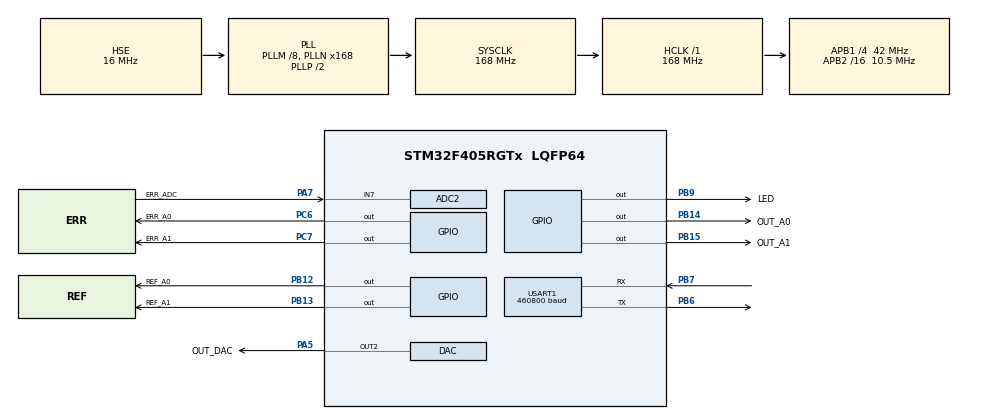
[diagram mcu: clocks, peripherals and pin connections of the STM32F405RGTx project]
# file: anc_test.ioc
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ADC2.Channel-0\#ChannelRegularConversion=ADC_CHANNEL_7
ADC2.ClockPrescaler=ADC_CLOCK_SYNC_PCLK_DIV4
ADC2.ExternalTrigConv=ADC_EXTERNALTRIGCONV_T2_TRGO
ADC2.NbrOfConversionFlag=1
ADC2.Rank-0\#ChannelRegularConversion=1
ADC2.SamplingTime-0\#ChannelRegularConversion=ADC_SAMPLETIME_3CYCLES
DAC.DAC_Trigger2=DAC_TRIGGER_SOFTWARE
Dma.Request0=USART1_TX
Dma.USART1_TX.0.Direction=DMA_MEMORY_TO_PERIPH
Dma.USART1_TX.0.FIFOMode=DMA_FIFOMODE_DISABLE
Dma.USART1_TX.0.Instance=DMA2_Stream7
Dma.USART1_TX.0.MemDataAlignment=DMA_MDATAALIGN_BYTE
Dma.USART1_TX.0.MemInc=DMA_MINC_ENABLE
Dma.USART1_TX.0.Mode=DMA_NORMAL
Dma.USART1_TX.0.PeriphDataAlignment=DMA_PDATAALIGN_BYTE
Dma.USART1_TX.0.PeriphInc=DMA_PINC_DISABLE
Dma.USART1_TX.0.Priority=DMA_PRIORITY_HIGH
Mcu.Family=STM32F4
Mcu.Name=STM32F405RGTx
Mcu.Package=LQFP64
NVIC.ADC_IRQn=true\:0\:0\:false\:false\:true\:true\:true
NVIC.DMA2_Stream7_IRQn=true\:0\:0\:false\:false\:true\:false\:true
NVIC.PriorityGroup=NVIC_PRIORITYGROUP_4
NVIC.TIM2_IRQn=true\:0\:0\:false\:false\:true\:true\:true
NVIC.USART1_IRQn=true\:0\:0\:false\:false\:true\:true\:true
PA13.Mode=Trace_Asynchronous_SW
PA13.Signal=SYS_JTMS-SWDIO
PA14.Mode=Trace_Asynchronous_SW
PA14.Signal=SYS_JTCK-SWCLK
PA5.GPIO_Label=OUT_DAC
PA5.Signal=COMP_DAC2_group
PA7.GPIO_Label=ERR_ADC
PA7.Signal=ADCx_IN7
PB12.GPIO_Label=REF_A0
PB12.Signal=GPIO_Output
PB13.GPIO_Label=REF_A1
PB13.Signal=GPIO_Output
PB14.GPIO_Label=OUT_A0
PB14.Signal=GPIO_Output
PB15.GPIO_Label=OUT_A1
PB15.Signal=GPIO_Output
PB3.Mode=Trace_Asynchronous_SW
PB3.Signal=SYS_JTDO-SWO
PB6.Mode=Asynchronous
PB6.Signal=USART1_TX
PB7.Mode=Asynchronous
PB7.Signal=USART1_RX
PB9.GPIO_Label=LED
PB9.GPIO_ModeDefaultOutputPP=GPIO_MODE_OUTPUT_OD
PB9.GPIO_PuPd=GPIO_PULLUP
PB9.Signal=GPIO_Output
PC6.GPIO_Label=ERR_A0
PC6.Signal=GPIO_Output
PC7.GPIO_Label=ERR_A1
PC7.Signal=GPIO_Output
PH0-OSC_IN.Mode=HSE-External-Oscillator
PH0-OSC_IN.Signal=RCC_OSC_IN
PH1-OSC_OUT.Mode=HSE-External-Oscillator
PH1-OSC_OUT.Signal=RCC_OSC_OUT
ProjectManager.HeapSize=0x200
ProjectManager.StackSize=0x400
ProjectManager.TargetToolchain=STM32CubeIDE
RCC.48MHZClocksFreq_Value=84000000
RCC.AHBFreq_Value=168000000
RCC.APB1CLKDivider=RCC_HCLK_DIV4
RCC.APB1Freq_Value=42000000
RCC.APB1TimFreq_Value=84000000
RCC.APB2CLKDivider=RCC_HCLK_DIV16
RCC.APB2Freq_Value=10500000
RCC.APB2TimFreq_Value=21000000
RCC.CortexFreq_Value=168000000
RCC.HCLKFreq_Value=168000000
RCC.HSE_VALUE=16000000
RCC.HSI_VALUE=16000000
RCC.LSE_VALUE=32768
RCC.PLLM=8
RCC.PLLN=168
RCC.PLLSourceVirtual=RCC_PLLSOURCE_HSE
RCC.SYSCLKFreq_VALUE=168000000
RCC.SYSCLKSource=RCC_SYSCLKSOURCE_PLLCLK
RCC.VCOOutputFreq_Value=336000000
SH.ADCx_IN7.0=ADC2_IN7,IN7
SH.COMP_DAC2_group.0=DAC_OUT2,DAC_OUT2
TIM2.Period=9
TIM2.Prescaler=1049
TIM2.TIM_MasterOutputTrigger=TIM_TRGO_UPDATE
USART1.BaudRate=460800
USART1.VirtualMode=VM_ASYNC
VP_TIM2_VS_ClockSourceINT.Mode=Internal
board=custom

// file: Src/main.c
/* USER CODE BEGIN Header */
/**
  ******************************************************************************
  * @file           : main.c
  * @brief          : Main program body
  ******************************************************************************
  * @attention
  *
  * <h2><center>&copy; Copyright (c) 2019 STMicroelectronics.
  * All rights reserved.</center></h2>
  *
  * This software component is licensed by ST under BSD 3-Clause license,
  * the "License"; You may not use this file except in compliance with the
  * License. You may obtain a copy of the License at:
  *                        opensource.org/licenses/BSD-3-Clause
  *
  ******************************************************************************
  */
/* USER CODE END Header */

#include "main.h"

/* USER CODE BEGIN Includes */
#include <stdio.h>
#include <string.h>
/* USER CODE END Includes */

UART_HandleTypeDef huart1;
DMA_HandleTypeDef hdma_usart1_tx;

void SystemClock_Config(void);
static void MX_GPIO_Init(void);
static void MX_DMA_Init(void);
static void MX_USART1_UART_Init(void);
static void MX_TIM2_Init(void);
static void MX_ADC2_Init(void);
static void MX_DAC_Init(void);

/* USER CODE BEGIN 0 */

volatile char uartbuf[40];

volatile uint8_t start = 0;

volatile int16_t sendbuf[3];
/*
void HAL_TIM_PeriodElapsedCallback(TIM_HandleTypeDef *htim)
{
	const int16_t sinus[40] = {
			  	  0,
			    160,
			    316,
			    465,
			    602,
			    724,
			    828,
			    912,
			    974,
			   1011,
			   1024,
			   1011,
			    974,
			    912,
			    828,
			    724,
			    602,
			    465,
			    316,
			    160,
			      0,
			   -160,
			   -316,
			   -465,
			   -602,
			   -724,
			   -828,
			   -912,
			   -974,
			  -1011,
			  -1024,
			  -1011,
			   -974,
			   -912,
			   -828,
			   -724,
			   -602,
			   -465,
			   -316,
			   -160
	};
	static uint32_t i = 0;

	if (start)
	{

		//sprintf(uartbuf, "%d\n", i);
		sendbuf[0] = sinus[ i % 40 ];
		sendbuf[1] = sinus[ (i + 10) % 40 ];
		sendbuf[2] = sinus[ (i + 20) % 40 ];

		//sprintf(uartbuf, "%d\t%d\t%d\n", sendbuf[0], sendbuf[1], sendbuf[2]);

		//HAL_StatusTypeDef error = HAL_UART_Transmit_IT(&huart1, (uint8_t*)uartbuf, strlen(uartbuf));
		if (HAL_UART_Transmit_DMA(&huart1, (uint8_t*)sendbuf, 6) != HAL_OK)
		{
			HAL_GPIO_WritePin(LED_GPIO_Port, LED_Pin, GPIO_PIN_SET);
		}
		//sendbuf[0] = 1;
	}
	i++;
	/*
	if ((i % 8000) == 0)
	{
		HAL_GPIO_TogglePin(LED_GPIO_Port, LED_Pin);
	}
	*/
/*
}
*/
/* USER CODE END 0 */

int main(void)
{

  /* MCU Configuration--------------------------------------------------------*/

  /* Reset of all peripherals, Initializes the Flash interface and the Systick. */
  HAL_Init();

  /* Configure the system clock */
  SystemClock_Config();

  /* Initialize all configured peripherals */
  MX_GPIO_Init();
  MX_DMA_Init();
  MX_USART1_UART_Init();
  MX_TIM2_Init();
  MX_ADC2_Init();
  MX_DAC_Init();
  /* USER CODE BEGIN 2 */

  char uartbuf[20];
  int i = 0;
  HAL_GPIO_WritePin(LED_GPIO_Port, LED_Pin, GPIO_PIN_SET);

  //LL_GPIO_SetOutputPin(ERR_A0_GPIO_Port, ERR_A0_Pin);
  //LL_GPIO_ResetOutputPin(ERR_A1_GPIO_Port, ERR_A1_Pin);
  HAL_GPIO_WritePin(ERR_A0_GPIO_Port, ERR_A0_Pin, GPIO_PIN_SET);
  HAL_GPIO_WritePin(ERR_A1_GPIO_Port, ERR_A1_Pin, GPIO_PIN_SET);

  //while(1);

  LL_ADC_Enable(ADC2);
  LL_ADC_EnableIT_EOCS(ADC2);
  LL_DAC_Enable(DAC, LL_DAC_CHANNEL_2);
  //LL_DAC_EnableTrigger(DAC, LL_DAC_CHANNEL_1);
  LL_TIM_EnableCounter(TIM2);

  //HAL_TIM_Base_Start_IT(&htim2);

  /* USER CODE END 2 */

  /* Infinite loop */
  /* USER CODE BEGIN WHILE */
  while (1)
  {
	  //sprintf(uartbuf, "%d\n", i);
	  //HAL_UART_Transmit(&huart1, (uint8_t*)uartbuf, strlen(uartbuf), 1000);
	  if (start == 0)
	  {
		  if (HAL_UART_Receive(&huart1, (uint8_t*)uartbuf, 2, 1000) == HAL_OK)
		  {
			  if (uartbuf[0] == '1')
			  {
				  HAL_GPIO_WritePin(LED_GPIO_Port, LED_Pin, GPIO_PIN_RESET);
				  start = 1;
			  }
			  if (uartbuf[0] == '0')
			  {
				  HAL_GPIO_WritePin(LED_GPIO_Port, LED_Pin, GPIO_PIN_SET);
				  start = 0;
			  }
		  }
	  }
	  //HAL_UART_Transmit_DMA(&huart1, (uint8_t*)uartbuf, strlen(uartbuf));
	  i++;
    /* USER CODE END WHILE */

  }
}

void SystemClock_Config(void)
{
  RCC_OscInitTypeDef RCC_OscInitStruct = {0};
  RCC_ClkInitTypeDef RCC_ClkInitStruct = {0};

  /** Configure the main internal regulator output voltage
  */
  __HAL_RCC_PWR_CLK_ENABLE();
  __HAL_PWR_VOLTAGESCALING_CONFIG(PWR_REGULATOR_VOLTAGE_SCALE1);
  /** Initializes the CPU, AHB and APB busses clocks
  */
  RCC_OscInitStruct.OscillatorType = RCC_OSCILLATORTYPE_HSE;
  RCC_OscInitStruct.HSEState = RCC_HSE_ON;
  RCC_OscInitStruct.PLL.PLLState = RCC_PLL_ON;
  RCC_OscInitStruct.PLL.PLLSource = RCC_PLLSOURCE_HSE;
  RCC_OscInitStruct.PLL.PLLM = 8;
  RCC_OscInitStruct.PLL.PLLN = 168;
  RCC_OscInitStruct.PLL.PLLP = RCC_PLLP_DIV2;
  RCC_OscInitStruct.PLL.PLLQ = 4;
  if (HAL_RCC_OscConfig(&RCC_OscInitStruct) != HAL_OK)
  {
    Error_Handler();
  }
  /** Initializes the CPU, AHB and APB busses clocks
  */
  RCC_ClkInitStruct.ClockType = RCC_CLOCKTYPE_HCLK|RCC_CLOCKTYPE_SYSCLK
                              |RCC_CLOCKTYPE_PCLK1|RCC_CLOCKTYPE_PCLK2;
  RCC_ClkInitStruct.SYSCLKSource = RCC_SYSCLKSOURCE_PLLCLK;
  RCC_ClkInitStruct.AHBCLKDivider = RCC_SYSCLK_DIV1;
  RCC_ClkInitStruct.APB1CLKDivider = RCC_HCLK_DIV4;
  RCC_ClkInitStruct.APB2CLKDivider = RCC_HCLK_DIV16;

  if (HAL_RCC_ClockConfig(&RCC_ClkInitStruct, FLASH_LATENCY_5) != HAL_OK)
  {
    Error_Handler();
  }
}

static void MX_ADC2_Init(void)
{

  LL_ADC_InitTypeDef ADC_InitStruct = {0};
  LL_ADC_REG_InitTypeDef ADC_REG_InitStruct = {0};
  LL_ADC_CommonInitTypeDef ADC_CommonInitStruct = {0};

  LL_GPIO_InitTypeDef GPIO_InitStruct = {0};

  /* Peripheral clock enable */
  LL_APB2_GRP1_EnableClock(LL_APB2_GRP1_PERIPH_ADC2);

  LL_AHB1_GRP1_EnableClock(LL_AHB1_GRP1_PERIPH_GPIOA);
  /**ADC2 GPIO Configuration
  PA7   ------> ADC2_IN7
  */
  GPIO_InitStruct.Pin = LL_GPIO_PIN_7;
  GPIO_InitStruct.Mode = LL_GPIO_MODE_ANALOG;
  GPIO_InitStruct.Pull = LL_GPIO_PULL_NO;
  LL_GPIO_Init(GPIOA, &GPIO_InitStruct);

  /* ADC2 interrupt Init */
  NVIC_SetPriority(ADC_IRQn, NVIC_EncodePriority(NVIC_GetPriorityGrouping(),0, 0));
  NVIC_EnableIRQ(ADC_IRQn);

  /** Common config
  */
  ADC_InitStruct.Resolution = LL_ADC_RESOLUTION_12B;
  ADC_InitStruct.DataAlignment = LL_ADC_DATA_ALIGN_RIGHT;
  ADC_InitStruct.SequencersScanMode = LL_ADC_SEQ_SCAN_DISABLE;
  LL_ADC_Init(ADC2, &ADC_InitStruct);
  ADC_REG_InitStruct.TriggerSource = LL_ADC_REG_TRIG_EXT_TIM2_TRGO;
  ADC_REG_InitStruct.SequencerLength = LL_ADC_REG_SEQ_SCAN_DISABLE;
  ADC_REG_InitStruct.SequencerDiscont = LL_ADC_REG_SEQ_DISCONT_DISABLE;
  ADC_REG_InitStruct.ContinuousMode = LL_ADC_REG_CONV_SINGLE;
  ADC_REG_InitStruct.DMATransfer = LL_ADC_REG_DMA_TRANSFER_LIMITED;
  LL_ADC_REG_Init(ADC2, &ADC_REG_InitStruct);
  LL_ADC_REG_SetFlagEndOfConversion(ADC2, LL_ADC_REG_FLAG_EOC_UNITARY_CONV);
  LL_ADC_DisableIT_EOCS(ADC2);
  ADC_CommonInitStruct.CommonClock = LL_ADC_CLOCK_SYNC_PCLK_DIV4;
  LL_ADC_CommonInit(__LL_ADC_COMMON_INSTANCE(ADC2), &ADC_CommonInitStruct);
  LL_ADC_REG_StartConversionExtTrig(ADC2, LL_ADC_REG_TRIG_EXT_RISING);
  /** Configure Regular Channel
  */
  LL_ADC_REG_SetSequencerRanks(ADC2, LL_ADC_REG_RANK_1, LL_ADC_CHANNEL_7);
  LL_ADC_SetChannelSamplingTime(ADC2, LL_ADC_CHANNEL_7, LL_ADC_SAMPLINGTIME_3CYCLES);

}

static void MX_DAC_Init(void)
{

  LL_DAC_InitTypeDef DAC_InitStruct = {0};

  LL_GPIO_InitTypeDef GPIO_InitStruct = {0};

  /* Peripheral clock enable */
  LL_APB1_GRP1_EnableClock(LL_APB1_GRP1_PERIPH_DAC1);

  LL_AHB1_GRP1_EnableClock(LL_AHB1_GRP1_PERIPH_GPIOA);
  /**DAC GPIO Configuration
  PA5   ------> DAC_OUT2
  */
  GPIO_InitStruct.Pin = LL_GPIO_PIN_5;
  GPIO_InitStruct.Mode = LL_GPIO_MODE_ANALOG;
  GPIO_InitStruct.Pull = LL_GPIO_PULL_NO;
  LL_GPIO_Init(GPIOA, &GPIO_InitStruct);

  /** DAC channel OUT2 config
  */
  DAC_InitStruct.TriggerSource = LL_DAC_TRIG_SOFTWARE;
  DAC_InitStruct.WaveAutoGeneration = LL_DAC_WAVE_AUTO_GENERATION_NONE;
  DAC_InitStruct.OutputBuffer = LL_DAC_OUTPUT_BUFFER_ENABLE;
  LL_DAC_Init(DAC, LL_DAC_CHANNEL_2, &DAC_InitStruct);

}

static void MX_TIM2_Init(void)
{

  LL_TIM_InitTypeDef TIM_InitStruct = {0};

  /* Peripheral clock enable */
  LL_APB1_GRP1_EnableClock(LL_APB1_GRP1_PERIPH_TIM2);

  /* TIM2 interrupt Init */
  NVIC_SetPriority(TIM2_IRQn, NVIC_EncodePriority(NVIC_GetPriorityGrouping(),0, 0));
  NVIC_EnableIRQ(TIM2_IRQn);

  TIM_InitStruct.Prescaler = 1049;
  TIM_InitStruct.CounterMode = LL_TIM_COUNTERMODE_UP;
  TIM_InitStruct.Autoreload = 9;
  TIM_InitStruct.ClockDivision = LL_TIM_CLOCKDIVISION_DIV1;
  LL_TIM_Init(TIM2, &TIM_InitStruct);
  LL_TIM_DisableARRPreload(TIM2);
  LL_TIM_SetClockSource(TIM2, LL_TIM_CLOCKSOURCE_INTERNAL);
  LL_TIM_SetTriggerOutput(TIM2, LL_TIM_TRGO_UPDATE);
  LL_TIM_DisableMasterSlaveMode(TIM2);

}

static void MX_USART1_UART_Init(void)
{

  huart1.Instance = USART1;
  huart1.Init.BaudRate = 460800;
  huart1.Init.WordLength = UART_WORDLENGTH_8B;
  huart1.Init.StopBits = UART_STOPBITS_1;
  huart1.Init.Parity = UART_PARITY_NONE;
  huart1.Init.Mode = UART_MODE_TX_RX;
  huart1.Init.HwFlowCtl = UART_HWCONTROL_NONE;
  huart1.Init.OverSampling = UART_OVERSAMPLING_16;
  if (HAL_UART_Init(&huart1) != HAL_OK)
  {
    Error_Handler();
  }

}

static void MX_DMA_Init(void)
{
  /* DMA controller clock enable */
  __HAL_RCC_DMA2_CLK_ENABLE();

  /* DMA interrupt init */
  /* DMA2_Stream7_IRQn interrupt configuration */
  HAL_NVIC_SetPriority(DMA2_Stream7_IRQn, 0, 0);
  HAL_NVIC_EnableIRQ(DMA2_Stream7_IRQn);

}

static void MX_GPIO_Init(void)
{
  GPIO_InitTypeDef GPIO_InitStruct = {0};

  /* GPIO Ports Clock Enable */
  __HAL_RCC_GPIOH_CLK_ENABLE();
  __HAL_RCC_GPIOA_CLK_ENABLE();
  __HAL_RCC_GPIOB_CLK_ENABLE();
  __HAL_RCC_GPIOC_CLK_ENABLE();

  /*Configure GPIO pin Output Level */
  HAL_GPIO_WritePin(GPIOB, REF_A0_Pin|REF_A1_Pin|OUT_A0_Pin|OUT_A1_Pin
                          |LED_Pin, GPIO_PIN_RESET);

  /*Configure GPIO pin Output Level */
  HAL_GPIO_WritePin(GPIOC, ERR_A0_Pin|ERR_A1_Pin, GPIO_PIN_RESET);

  /*Configure GPIO pins : REF_A0_Pin REF_A1_Pin OUT_A0_Pin OUT_A1_Pin */
  GPIO_InitStruct.Pin = REF_A0_Pin|REF_A1_Pin|OUT_A0_Pin|OUT_A1_Pin;
  GPIO_InitStruct.Mode = GPIO_MODE_OUTPUT_PP;
  GPIO_InitStruct.Pull = GPIO_NOPULL;
  GPIO_InitStruct.Speed = GPIO_SPEED_FREQ_LOW;
  HAL_GPIO_Init(GPIOB, &GPIO_InitStruct);

  /*Configure GPIO pins : ERR_A0_Pin ERR_A1_Pin */
  GPIO_InitStruct.Pin = ERR_A0_Pin|ERR_A1_Pin;
  GPIO_InitStruct.Mode = GPIO_MODE_OUTPUT_PP;
  GPIO_InitStruct.Pull = GPIO_NOPULL;
  GPIO_InitStruct.Speed = GPIO_SPEED_FREQ_LOW;
  HAL_GPIO_Init(GPIOC, &GPIO_InitStruct);

  /*Configure GPIO pin : LED_Pin */
  GPIO_InitStruct.Pin = LED_Pin;
  GPIO_InitStruct.Mode = GPIO_MODE_OUTPUT_OD;
  GPIO_InitStruct.Pull = GPIO_PULLUP;
  GPIO_InitStruct.Speed = GPIO_SPEED_FREQ_LOW;
  HAL_GPIO_Init(LED_GPIO_Port, &GPIO_InitStruct);

}

void Error_Handler(void)
{
}

/************************ (C) COPYRIGHT STMicroelectronics *****END OF FILE****/
